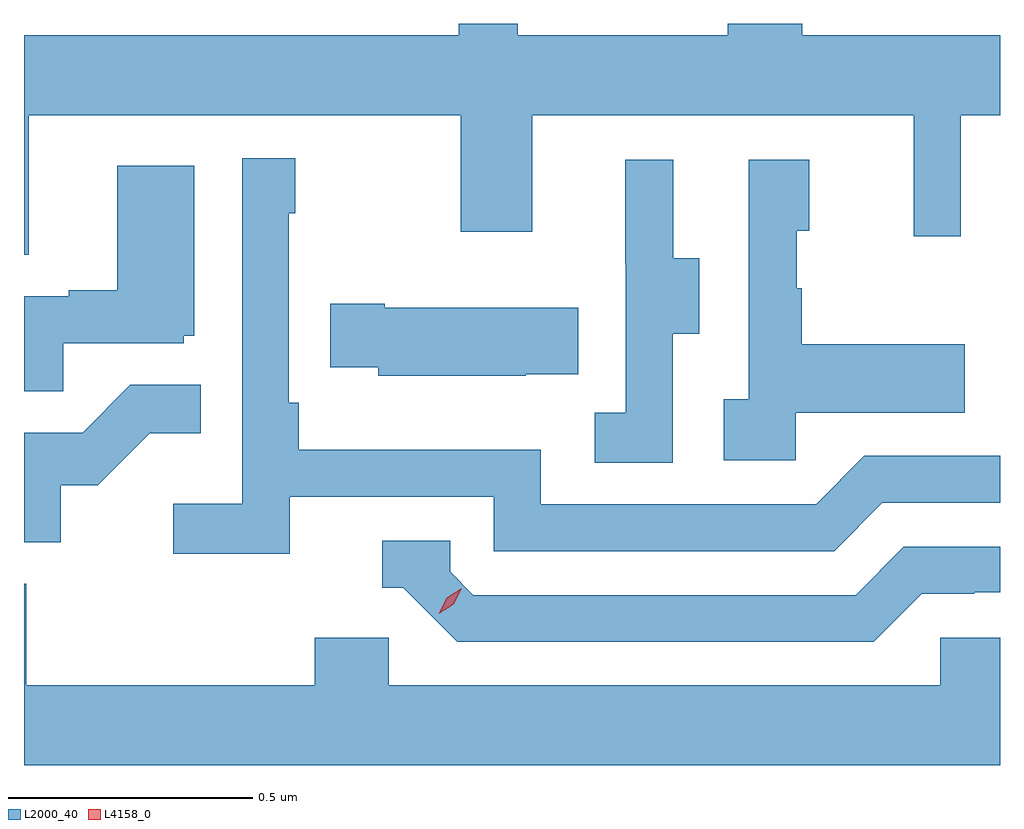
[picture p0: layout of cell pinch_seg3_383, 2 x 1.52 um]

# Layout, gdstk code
import gdstk
lib = gdstk.Library(unit=1e-6, precision=1e-09)
def P(c, l, *ps):  # polygons
    for p in ps: c.add(gdstk.Polygon(p, *l))
L2000_40 = (2000, 40)
L4158_0 = (4158, 0)

pinch_seg3_383 = lib.new_cell('pinch_seg3_383')
P(pinch_seg3_383, L2000_40, [(998.329,704.912),(999.214,704.912),(999.214,704.673),(999.361,704.673),(999.361,704.912),(1000.142,704.912),(1000.142,704.664),(1000.239,704.664),(1000.239,704.912),(1000.319,704.912),(1000.319,705.076),(999.914,705.076),(999.914,705.1),(999.761,705.1),(999.761,705.076),(999.331,705.076),(999.331,705.1),(999.21,705.1),(999.21,705.076),(998.319,705.076),(998.319,704.626),(998.329,704.626)],
  [(998.864,704.13),(999.282,704.13),(999.282,704.019),(999.979,704.019),(1000.078,704.118),(1000.319,704.118),(1000.319,704.214),(1000.041,704.214),(999.942,704.115),(999.378,704.115),(999.378,704.227),(998.882,704.227),(998.882,704.323),(998.862,704.323),(998.862,704.711),(998.875,704.711),(998.875,704.824),(998.766,704.824),(998.766,704.116),(998.625,704.116),(998.625,704.014),(998.864,704.014)],
  [(999.9,704.303),(1000.247,704.303),(1000.247,704.443),(999.913,704.443),(999.913,704.558),(999.903,704.558),(999.903,704.676),(999.928,704.676),(999.928,704.821),(999.804,704.821),(999.804,704.33),(999.753,704.33),(999.753,704.205),(999.9,704.205)],
  [(999.648,704.464),(999.703,704.464),(999.703,704.619),(999.649,704.619),(999.649,704.821),(999.551,704.821),(999.551,704.607),(999.552,704.607),(999.552,704.303),(999.489,704.303),(999.489,704.2),(999.648,704.2)],
  [(998.399,704.445),(998.646,704.445),(998.646,704.46),(998.668,704.46),(998.668,704.809),(998.51,704.809),(998.51,704.554),(998.411,704.554),(998.411,704.541),(998.319,704.541),(998.319,704.347),(998.399,704.347)],
  [(999.347,704.381),(999.455,704.381),(999.455,704.518),(999.058,704.518),(999.058,704.526),(998.947,704.526),(998.947,704.396),(999.045,704.396),(999.045,704.378),(999.347,704.378)],
  [(998.394,704.154),(998.47,704.154),(998.577,704.261),(998.681,704.261),(998.681,704.36),(998.537,704.36),(998.439,704.262),(998.319,704.262),(998.319,704.037),(998.394,704.037)],
  [(1000.159,703.932),(1000.266,703.932),(1000.266,703.935),(1000.319,703.935),(1000.319,704.028),(1000.122,704.028),(1000.023,703.929),(999.24,703.929),(999.192,703.977),(999.192,704.04),(999.053,704.04),(999.053,703.944),(999.096,703.944),(999.207,703.833),(1000.06,703.833)],
  [(1000.319,703.842),(1000.197,703.842),(1000.197,703.744),(999.066,703.744),(999.066,703.842),(998.915,703.842),(998.915,703.744),(998.324,703.744),(998.324,703.952),(998.319,703.952),(998.319,703.58),(1000.319,703.58)])
P(pinch_seg3_383, L4158_0, [(999.169,703.891),(999.169,703.891),(999.185,703.924),(999.216,703.943),(999.216,703.943),(999.216,703.943),(999.2,703.91),(999.169,703.891)])

lib.write_gds('pinch_seg3_383.gds')
